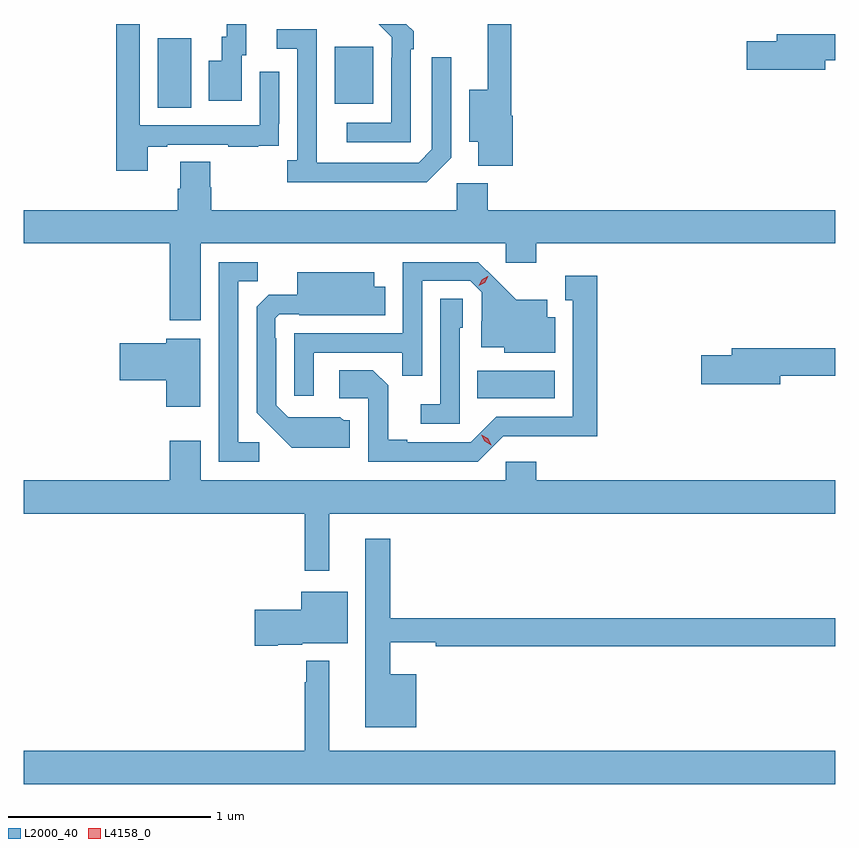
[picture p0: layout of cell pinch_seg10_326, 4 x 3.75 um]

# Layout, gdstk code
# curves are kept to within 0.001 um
import gdstk
lib = gdstk.Library(unit=1e-6, precision=1e-09)
def R(c, l, rs):  # rectangles x0, y0, x1, y1
    for r in rs: c.add(gdstk.rectangle(r[:2], r[2:], *l))
def P(c, l, *ps):  # polygons
    for p in ps: c.add(gdstk.Polygon(p, *l))
L2000_40 = (2000, 40)
L4158_0 = (4158, 0)

pinch_seg10_326 = lib.new_cell('pinch_seg10_326')
R(pinch_seg10_326, L2000_40, [(516.766,1283.57,517.147,1283.704), (515.192,1285,515.356,1285.344), (516.065,1285.019,516.253,1285.3)])
P(pinch_seg10_326, L2000_40, [(515.143,1284.807),(515.239,1284.807),(515.239,1284.819),(515.539,1284.819),(515.539,1284.807),(515.687,1284.807),(515.687,1284.813),(515.789,1284.813),(515.789,1284.922),(515.79,1284.922),(515.79,1285.177),(515.694,1285.177),(515.694,1284.915),(515.103,1284.915),(515.103,1285.413),(514.987,1285.413),(514.987,1284.69),(515.143,1284.69)],
  [(516.438,1285.289),(516.453,1285.289),(516.453,1285.377),(516.417,1285.413),(516.28,1285.413),(516.345,1285.347),(516.345,1285.247),(516.342,1285.247),(516.342,1284.927),(516.123,1284.927),(516.123,1284.831),(516.438,1284.831)],
  [(515.605,1285.26),(515.629,1285.26),(515.629,1285.413),(515.532,1285.413),(515.532,1285.35),(515.507,1285.35),(515.507,1285.231),(515.444,1285.231),(515.444,1285.035),(515.605,1285.035)],
  [(516.941,1284.962),(516.935,1284.962),(516.935,1285.413),(516.818,1285.413),(516.818,1285.09),(516.728,1285.09),(516.728,1284.833),(516.77,1284.833),(516.77,1284.714),(516.941,1284.714)],
  [(516.639,1284.753),(516.639,1285.249),(516.543,1285.249),(516.543,1284.795),(516.477,1284.729),(515.976,1284.729),(515.976,1285.386),(515.778,1285.386),(515.778,1285.29),(515.88,1285.29),(515.88,1284.742),(515.829,1284.742),(515.829,1284.632),(516.518,1284.632)],
  [(518.482,1285.234),(518.531,1285.234),(518.531,1285.363),(518.243,1285.363),(518.243,1285.329),(518.094,1285.329),(518.094,1285.187),(518.482,1285.187)],
  [(515.404,1284.332),(516.906,1284.332),(516.906,1284.237),(517.058,1284.237),(517.058,1284.332),(518.531,1284.332),(518.531,1284.496),(516.818,1284.496),(516.818,1284.628),(516.666,1284.628),(516.666,1284.496),(515.456,1284.496),(515.456,1284.609),(515.451,1284.609),(515.451,1284.734),(515.303,1284.734),(515.303,1284.602),(515.291,1284.602),(515.291,1284.496),(514.531,1284.496),(514.531,1284.332),(515.252,1284.332),(515.252,1283.952),(515.404,1283.952)],
  [(515.961,1283.793),(516.397,1283.793),(516.397,1283.68),(516.495,1283.68),(516.495,1284.147),(516.732,1284.147),(516.789,1284.09),(516.789,1283.948),(516.785,1283.948),(516.785,1283.819),(516.9,1283.819),(516.9,1283.792),(517.15,1283.792),(517.15,1283.968),(517.111,1283.968),(517.111,1284.055),(516.959,1284.055),(516.772,1284.24),(516.399,1284.24),(516.399,1283.889),(515.865,1283.889),(515.865,1283.58),(515.961,1283.58)],
  [(515.692,1283.352),(515.589,1283.352),(515.589,1284.145),(515.685,1284.145),(515.685,1284.24),(515.493,1284.24),(515.493,1283.256),(515.692,1283.256)],
  [(516.139,1283.46),(516.108,1283.46),(516.092,1283.476),(515.835,1283.475),(515.775,1283.535),(515.775,1283.864),(515.772,1283.864),(515.772,1283.964),(515.79,1283.982),(515.89,1283.982),(515.89,1283.978),(516.314,1283.978),(516.314,1284.118),(516.259,1284.118),(516.259,1284.19),(515.879,1284.19),(515.879,1284.079),(515.738,1284.079),(515.679,1284.02),(515.679,1283.498),(515.851,1283.324),(516.139,1283.324)],
  [(516.894,1283.382),(517.357,1283.381),(517.357,1284.172),(517.199,1284.172),(517.199,1284.051),(517.238,1284.051),(517.238,1283.478),(516.861,1283.478),(516.735,1283.352),(516.421,1283.352),(516.421,1283.365),(516.327,1283.365),(516.327,1283.632),(516.251,1283.708),(516.087,1283.708),(516.087,1283.568),(516.228,1283.568),(516.228,1283.256),(516.768,1283.256)],
  [(516.681,1283.916),(516.696,1283.916),(516.696,1284.059),(516.585,1284.059),(516.585,1283.539),(516.489,1283.539),(516.489,1283.442),(516.681,1283.442)],
  [(515.401,1283.863),(515.234,1283.863),(515.234,1283.84),(515.004,1283.84),(515.004,1283.657),(515.234,1283.657),(515.234,1283.526),(515.401,1283.526)],
  [(518.26,1283.68),(518.531,1283.68),(518.531,1283.816),(518.021,1283.816),(518.021,1283.78),(517.871,1283.78),(517.871,1283.638),(518.26,1283.638)],
  [(516.037,1283),(518.531,1283),(518.531,1283.164),(517.058,1283.164),(517.058,1283.257),(516.906,1283.257),(516.906,1283.164),(515.404,1283.164),(515.404,1283.359),(515.252,1283.359),(515.252,1283.164),(514.531,1283.164),(514.531,1283),(515.916,1283),(515.916,1282.719),(516.037,1282.719)],
  [(516.466,1282.21),(516.337,1282.21),(516.337,1282.367),(516.562,1282.367),(516.562,1282.348),(518.531,1282.348),(518.531,1282.484),(516.337,1282.484),(516.337,1282.876),(516.215,1282.876),(516.215,1281.947),(516.466,1281.947)],
  [(515.782,1282.355),(515.904,1282.355),(515.904,1282.361),(516.127,1282.361),(516.127,1282.615),(515.9,1282.615),(515.9,1282.527),(515.67,1282.527),(515.67,1282.349),(515.782,1282.349)],
  [(518.531,1281.832),(516.037,1281.832),(516.037,1282.276),(515.923,1282.276),(515.923,1282.169),(515.916,1282.169),(515.916,1281.832),(514.531,1281.832),(514.531,1281.668),(518.531,1281.668)])
P(pinch_seg10_326, L4158_0, [(516.836,1283.338),(516.804,1283.357),(516.786,1283.39),(516.786,1283.39),(516.787,1283.39),(516.818,1283.371),(516.836,1283.339),(516.836,1283.338)],
  [(516.773,1284.123),(516.773,1284.123),(516.789,1284.153),(516.819,1284.169),(516.82,1284.169),(516.82,1284.169),(516.803,1284.139),(516.773,1284.123)])

lib.write_gds('pinch_seg10_326.gds')
